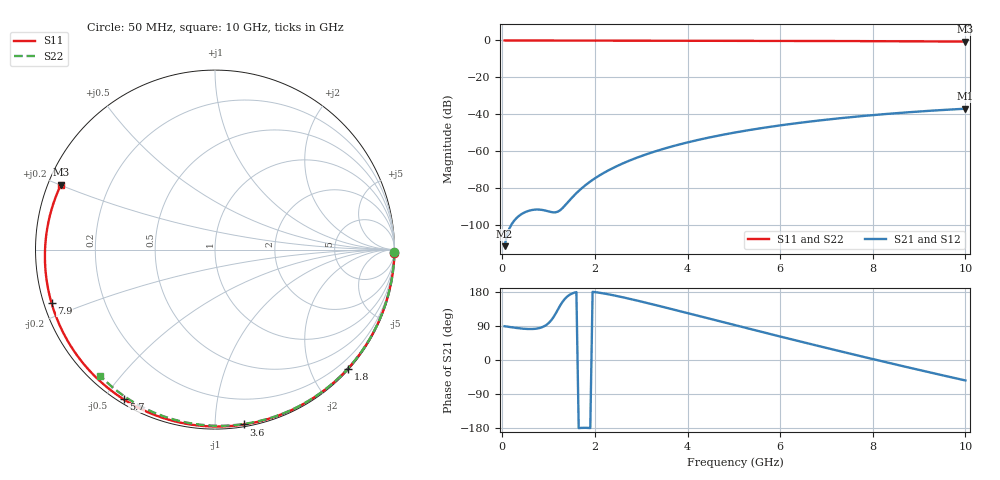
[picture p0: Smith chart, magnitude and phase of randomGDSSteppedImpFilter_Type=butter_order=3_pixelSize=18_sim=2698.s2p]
! freq	dB(S11)	phase(S11)	dB(S12)	phase(S12)
!  dB(S21)	phase(S21)	dB(S22)	phase(S22)
!S-par simulation data
#  GHz  S  DB  R 50
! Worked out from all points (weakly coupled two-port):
!   200 points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, 50 MHz to 10 GHz, reference 50 ohm
!   highest |S21| = -36.96 dB at 10 GHz (marker M1); lowest = -111.4 dB at 50 MHz (marker M2)
!   lowest |S11| = -0.6 dB at 10 GHz (marker M3), VSWR 28.25, Z = 1.84 + j10.1 ohm
!   |S11| at or under -10 dB: nowhere
!   |S22| runs from -0.4 to 0.0 dB; largest |S21 - S12| = 0
!   S11 on the Smith chart (normalised r, x): 50 MHz: 0, -96; 1.8 GHz: 0.02, -2.62; 3.6 GHz: 0.01, -1.18; 5.7 GHz: 0.02, -0.56; 7.9 GHz: 0.02, -0.16; 10 GHz: 0.04, +0.20
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0.05  -0.00 -1.2  -111.39 89.1  -111.39 89.1  -0.00 -0.8
0.45  -0.01 -10.6  -93.51 82.6  -93.51 82.6  -0.01 -6.8
0.85  -0.03 -20.0  -91.72 86.1  -91.72 86.1  -0.02 -12.9
1.25  -0.04 -29.3  -91.92 143.8  -91.92 143.8  -0.02 -18.9
1.7  -0.05 -39.6  -80.36 -179.2  -80.36 -179.2  -0.03 -25.6
1.75  -0.05 -40.7  -79.29 -178.9  -79.29 -178.9  -0.03 -26.3
1.8  -0.05 -41.8  -78.28 -178.9  -78.28 -178.9  -0.03 -27.1
2.1  -0.06 -48.5  -73.07 177.5  -73.07 177.5  -0.04 -31.5
2.45  -0.07 -56.3  -68.34 169.5  -68.34 169.5  -0.05 -36.6
2.9  -0.08 -66.0  -63.54 157.1  -63.54 157.1  -0.06 -43.1
3.4  -0.10 -76.5  -59.30 142.2  -59.30 142.2  -0.07 -50.1
3.6  -0.11 -80.6  -57.84 136.1  -57.84 136.1  -0.07 -52.9
4.3  -0.13 -94.7  -53.46 114.5  -53.46 114.5  -0.09 -62.5
5.05  -0.17 -109.2  -49.73 91.2  -49.73 91.2  -0.11 -72.6
5.7  -0.20 -121.4  -47.08 71.1  -47.08 71.1  -0.13 -81.0
6.7  -0.27 -139.9  -43.75 40.8  -43.75 40.8  -0.18 -93.5
7.3  -0.32 -150.8  -42.10 22.9  -42.10 22.9  -0.21 -100.8
7.9  -0.37 -161.9  -40.65 5.3  -40.65 5.3  -0.25 -108.0
8.35  -0.42 -170.3  -39.69 -7.7  -39.69 -7.7  -0.29 -113.2
8.8  -0.47 -178.8  -38.83 -20.5  -38.83 -20.5  -0.32 -118.5
9.2  -0.51 173.4  -38.14 -31.8  -38.14 -31.8  -0.36 -123.1
10  -0.62 157.1  -36.96 -54.0  -36.96 -54.0  -0.44 -132.2
